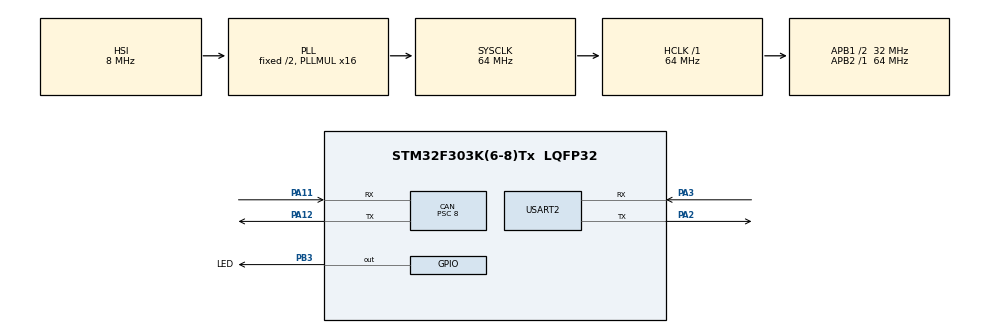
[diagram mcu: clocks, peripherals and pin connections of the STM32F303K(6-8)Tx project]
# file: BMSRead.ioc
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CAN.BS1=CAN_BS1_2TQ
CAN.BS2=CAN_BS2_1TQ
CAN.CalculateBaudRate=1000000
CAN.CalculateTimeBit=1000
CAN.CalculateTimeQuantum=250.0
CAN.Prescaler=8
Mcu.Family=STM32F3
Mcu.Name=STM32F303K(6-8)Tx
Mcu.Package=LQFP32
NVIC.CAN_RX0_IRQn=true\:0\:0\:false\:false\:true\:true\:true\:true
NVIC.CAN_RX1_IRQn=true\:0\:0\:false\:false\:true\:true\:true\:true
NVIC.CAN_SCE_IRQn=true\:0\:0\:false\:false\:true\:true\:true\:true
NVIC.CAN_TX_IRQn=true\:0\:0\:false\:false\:true\:true\:true\:true
NVIC.PriorityGroup=NVIC_PRIORITYGROUP_4
PA11.GPIO_PuPd=GPIO_PULLUP
PA11.Mode=CAN_Activate
PA11.Signal=CAN_RX
PA12.Mode=CAN_Activate
PA12.Signal=CAN_TX
PA2.Mode=Asynchronous
PA2.Signal=USART2_TX
PA3.Mode=Asynchronous
PA3.Signal=USART2_RX
PB3.GPIO_Label=LED
PB3.Signal=GPIO_Output
ProjectManager.HeapSize=0x200
ProjectManager.StackSize=0x400
ProjectManager.TargetToolchain=STM32CubeIDE
RCC.AHBFreq_Value=64000000
RCC.APB1CLKDivider=RCC_HCLK_DIV2
RCC.APB1Freq_Value=32000000
RCC.APB1TimFreq_Value=64000000
RCC.APB2Freq_Value=64000000
RCC.APB2TimFreq_Value=64000000
RCC.CortexFreq_Value=64000000
RCC.HCLKFreq_Value=64000000
RCC.HSE_VALUE=8000000
RCC.HSI_VALUE=8000000
RCC.PLLMUL=RCC_PLL_MUL16
RCC.SYSCLKFreq_VALUE=64000000
RCC.SYSCLKSourceVirtual=RCC_SYSCLKSOURCE_PLLCLK
USART2.VirtualMode-Asynchronous=VM_ASYNC
board=custom

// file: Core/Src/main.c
/* USER CODE BEGIN Header */
/**
  ******************************************************************************
  * @file           : main.c
  * @brief          : Main program body
  ******************************************************************************
  * @attention
  *
  * Copyright (c) 2025 STMicroelectronics.
  * All rights reserved.
  *
  * This software is licensed under terms that can be found in the LICENSE file
  * in the root directory of this software component.
  * If no LICENSE file comes with this software, it is provided AS-IS.
  *
  ******************************************************************************
  */
/* USER CODE END Header */
#include "main.h"

/* USER CODE BEGIN Includes */
#include <stdbool.h>

/* USER CODE END Includes */

CAN_HandleTypeDef hcan;

UART_HandleTypeDef huart2;

void SystemClock_Config(void);
static void MX_GPIO_Init(void);
static void MX_CAN_Init(void);
static void MX_USART2_UART_Init(void);

/* USER CODE BEGIN 0 */
bool received = false;
CAN_RxHeaderTypeDef RxHeader;
uint8_t RxData[8];
int lowV = 0;
int lowVID = 0;
int highV = 0;
int highVID = 0;
int InputV = 0;
int cycles = 0;
uint8_t currentLimitStatus = 0;
int packR = 0;

uint8_t relays = 0;
int cells = 0;
int packHealth = 0;
int highThermID = 0;

uint8_t failsafes = 0;
uint8_t DTC1 = 0;
uint8_t DTC2 = 0;
int highTherm = 0;

int packC = 0;
int ampHours = 0;
int packVS = 0;
int packVO = 0;
int SOC = 0;

void HAL_CAN_RxFifo0MsgPendingCallback(CAN_HandleTypeDef *hcan)
{
	HAL_CAN_GetRxMessage(hcan, CAN_RX_FIFO0, &RxHeader, RxData);
	HAL_GPIO_WritePin(LED_GPIO_Port, LED_Pin, 1);
	switch(RxHeader.StdId)
	{
		case 0x110:
			lowV = RxData[0];
			lowVID = RxData[1];
			highV = RxData[2];
			highVID = RxData[3];
			InputV = RxData[4];
			cycles = RxData[5];
			currentLimitStatus = RxData[6];
			packR = RxData[7];
			break;
		case 0x111:
			relays = RxData[0];
			cells = RxData[1];
			packHealth = RxData[2];
			highThermID = RxData[3];
			break;
		case 0x120:
			failsafes =RxData[0];
			DTC1 = RxData[1];
			DTC2 = RxData[2];
			highTherm = RxData[3];
			break;
		case 0x121:
			packC = RxData[0];
			ampHours = RxData[1];
			packVS = RxData[2];
			packVO = RxData[3];
			SOC = RxData[4];
			break;
	}
	received = true;
}
/* USER CODE END 0 */

int main(void)
{

  /* MCU Configuration--------------------------------------------------------*/

  /* Reset of all peripherals, Initializes the Flash interface and the Systick. */
  HAL_Init();

  /* Configure the system clock */
  SystemClock_Config();

  /* Initialize all configured peripherals */
  MX_GPIO_Init();
  MX_CAN_Init();
  MX_USART2_UART_Init();
  /* USER CODE BEGIN 2 */
  HAL_CAN_Start(&hcan);
  HAL_CAN_ActivateNotification(&hcan, CAN_IT_RX_FIFO0_MSG_PENDING);
  HAL_Delay(30);

  /* USER CODE END 2 */

  /* Infinite loop */
  while (1)
  {

    /* USER CODE BEGIN 3 */
	  if(received) received = false;
	  else HAL_GPIO_WritePin(LED_GPIO_Port, LED_Pin, 0);
	  HAL_Delay(10);
  }
  /* USER CODE END 3 */
}

void SystemClock_Config(void)
{
  RCC_OscInitTypeDef RCC_OscInitStruct = {0};
  RCC_ClkInitTypeDef RCC_ClkInitStruct = {0};

  /** Initializes the RCC Oscillators according to the specified parameters
  * in the RCC_OscInitTypeDef structure.
  */
  RCC_OscInitStruct.OscillatorType = RCC_OSCILLATORTYPE_HSI;
  RCC_OscInitStruct.HSIState = RCC_HSI_ON;
  RCC_OscInitStruct.HSICalibrationValue = RCC_HSICALIBRATION_DEFAULT;
  RCC_OscInitStruct.PLL.PLLState = RCC_PLL_ON;
  RCC_OscInitStruct.PLL.PLLSource = RCC_PLLSOURCE_HSI;
  RCC_OscInitStruct.PLL.PLLMUL = RCC_PLL_MUL16;
  if (HAL_RCC_OscConfig(&RCC_OscInitStruct) != HAL_OK)
  {
    Error_Handler();
  }

  /** Initializes the CPU, AHB and APB buses clocks
  */
  RCC_ClkInitStruct.ClockType = RCC_CLOCKTYPE_HCLK|RCC_CLOCKTYPE_SYSCLK
                              |RCC_CLOCKTYPE_PCLK1|RCC_CLOCKTYPE_PCLK2;
  RCC_ClkInitStruct.SYSCLKSource = RCC_SYSCLKSOURCE_PLLCLK;
  RCC_ClkInitStruct.AHBCLKDivider = RCC_SYSCLK_DIV1;
  RCC_ClkInitStruct.APB1CLKDivider = RCC_HCLK_DIV2;
  RCC_ClkInitStruct.APB2CLKDivider = RCC_HCLK_DIV1;

  if (HAL_RCC_ClockConfig(&RCC_ClkInitStruct, FLASH_LATENCY_2) != HAL_OK)
  {
    Error_Handler();
  }
}

static void MX_CAN_Init(void)
{

  hcan.Instance = CAN;
  hcan.Init.Prescaler = 8;
  hcan.Init.Mode = CAN_MODE_NORMAL;
  hcan.Init.SyncJumpWidth = CAN_SJW_1TQ;
  hcan.Init.TimeSeg1 = CAN_BS1_2TQ;
  hcan.Init.TimeSeg2 = CAN_BS2_1TQ;
  hcan.Init.TimeTriggeredMode = DISABLE;
  hcan.Init.AutoBusOff = DISABLE;
  hcan.Init.AutoWakeUp = DISABLE;
  hcan.Init.AutoRetransmission = DISABLE;
  hcan.Init.ReceiveFifoLocked = DISABLE;
  hcan.Init.TransmitFifoPriority = DISABLE;
  if (HAL_CAN_Init(&hcan) != HAL_OK)
  {
    Error_Handler();
  }
  /* USER CODE BEGIN CAN_Init 2 */
  CAN_FilterTypeDef canfilterconfig;

   canfilterconfig.FilterActivation = CAN_FILTER_ENABLE;
   canfilterconfig.FilterBank = 10;  // which filter bank to use from the assigned ones
   canfilterconfig.FilterFIFOAssignment = CAN_FILTER_FIFO0;
   canfilterconfig.FilterIdHigh = 0x100<<5;
   canfilterconfig.FilterIdLow = 0x0;
   canfilterconfig.FilterMaskIdHigh = 0x100<<5;
   canfilterconfig.FilterMaskIdLow = 0x0;
   canfilterconfig.FilterMode = CAN_FILTERMODE_IDMASK;
   canfilterconfig.FilterScale = CAN_FILTERSCALE_32BIT;
   canfilterconfig.SlaveStartFilterBank = 0;  // how many filters to assign to the CAN1 (master can)

   HAL_CAN_ConfigFilter(&hcan, &canfilterconfig);

  /* USER CODE END CAN_Init 2 */

}

static void MX_USART2_UART_Init(void)
{

  huart2.Instance = USART2;
  huart2.Init.BaudRate = 38400;
  huart2.Init.WordLength = UART_WORDLENGTH_8B;
  huart2.Init.StopBits = UART_STOPBITS_1;
  huart2.Init.Parity = UART_PARITY_NONE;
  huart2.Init.Mode = UART_MODE_TX_RX;
  huart2.Init.HwFlowCtl = UART_HWCONTROL_NONE;
  huart2.Init.OverSampling = UART_OVERSAMPLING_16;
  huart2.Init.OneBitSampling = UART_ONE_BIT_SAMPLE_DISABLE;
  huart2.AdvancedInit.AdvFeatureInit = UART_ADVFEATURE_NO_INIT;
  if (HAL_UART_Init(&huart2) != HAL_OK)
  {
    Error_Handler();
  }

}

static void MX_GPIO_Init(void)
{
  GPIO_InitTypeDef GPIO_InitStruct = {0};

  /* GPIO Ports Clock Enable */
  __HAL_RCC_GPIOA_CLK_ENABLE();
  __HAL_RCC_GPIOB_CLK_ENABLE();

  /*Configure GPIO pin Output Level */
  HAL_GPIO_WritePin(LED_GPIO_Port, LED_Pin, GPIO_PIN_RESET);

  /*Configure GPIO pin : LED_Pin */
  GPIO_InitStruct.Pin = LED_Pin;
  GPIO_InitStruct.Mode = GPIO_MODE_OUTPUT_PP;
  GPIO_InitStruct.Pull = GPIO_NOPULL;
  GPIO_InitStruct.Speed = GPIO_SPEED_FREQ_LOW;
  HAL_GPIO_Init(LED_GPIO_Port, &GPIO_InitStruct);

}

void Error_Handler(void)
{
  __disable_irq();
  while (1)
  {
  }
}
